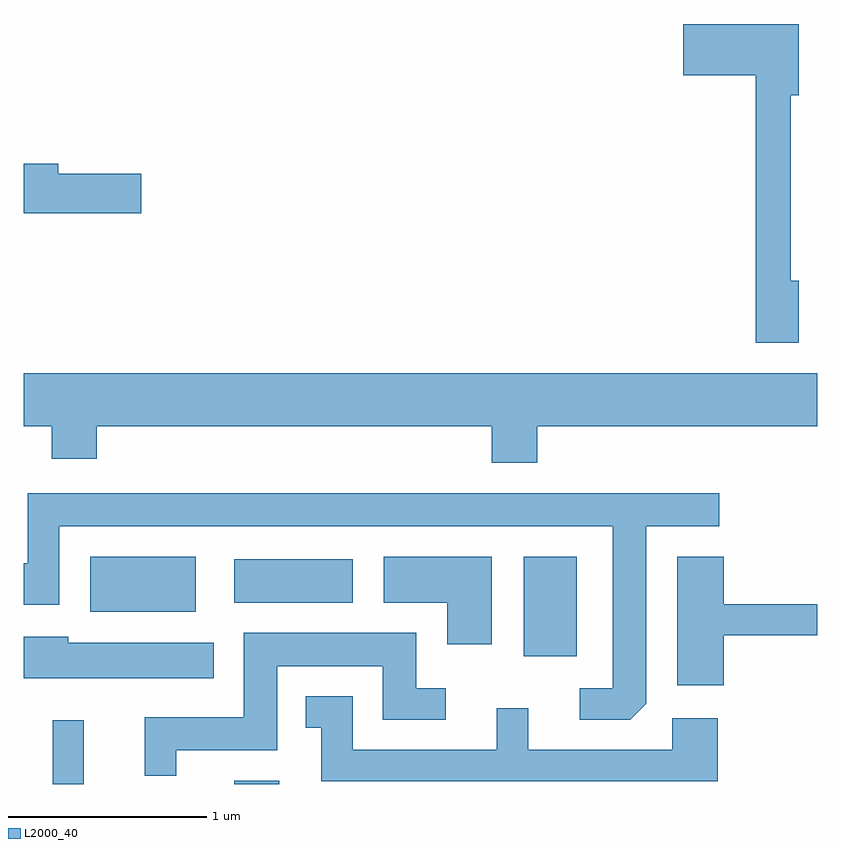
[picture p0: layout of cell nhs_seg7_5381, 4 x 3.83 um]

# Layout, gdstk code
import gdstk
lib = gdstk.Library(unit=1e-6, precision=1e-09)
def R(c, l, rs):  # rectangles x0, y0, x1, y1
    for r in rs: c.add(gdstk.rectangle(r[:2], r[2:], *l))
def P(c, l, *ps):  # polygons
    for p in ps: c.add(gdstk.Polygon(p, *l))
L2000_40 = (2000, 40)

nhs_seg7_5381 = lib.new_cell('nhs_seg7_5381')
R(nhs_seg7_5381, L2000_40, [(349.756,1750.252,349.914,1750.573), (350.671,1750.252,350.899,1750.269), (352.131,1750.896,352.399,1751.399), (349.946,1751.121,350.479,1751.399), (350.671,1751.166,351.269,1751.384)])
P(nhs_seg7_5381, L2000_40, [(353.519,1752.789),(353.479,1752.789),(353.479,1753.726),(353.519,1753.726),(353.519,1754.084),(352.936,1754.084),(352.936,1753.826),(353.301,1753.826),(353.301,1752.476),(353.519,1752.476)],
  [(350.204,1753.329),(349.784,1753.329),(349.784,1753.379),(349.611,1753.379),(349.611,1753.131),(350.204,1753.131)],
  [(349.611,1752.056),(349.751,1752.056),(349.751,1751.891),(349.979,1751.891),(349.979,1752.056),(351.971,1752.056),(351.971,1751.871),(352.199,1751.871),(352.199,1752.056),(353.611,1752.056),(353.611,1752.324),(349.611,1752.324)],
  [(352.749,1750.657),(352.749,1751.551),(353.118,1751.551),(353.118,1751.719),(349.631,1751.719),(349.631,1751.364),(349.611,1751.364),(349.611,1751.156),(349.789,1751.156),(349.789,1751.551),(352.581,1751.551),(352.581,1750.734),(352.413,1750.734),(352.413,1750.576),(352.669,1750.576)],
  [(351.969,1751.399),(351.426,1751.399),(351.426,1751.166),(351.746,1751.166),(351.746,1750.956),(351.969,1750.956)],
  [(353.139,1751.001),(353.611,1751.001),(353.611,1751.159),(353.139,1751.159),(353.139,1751.399),(352.906,1751.399),(352.906,1750.751),(353.139,1750.751)],
  [(350.379,1750.421),(350.889,1750.421),(350.889,1750.846),(351.421,1750.846),(351.421,1750.576),(351.738,1750.576),(351.738,1750.734),(351.589,1750.734),(351.589,1751.014),(350.721,1751.014),(350.721,1750.589),(350.221,1750.589),(350.221,1750.293),(350.379,1750.293)],
  [(350.569,1750.964),(349.834,1750.964),(349.834,1750.994),(349.611,1750.994),(349.611,1750.786),(350.569,1750.786)],
  [(353.109,1750.584),(352.881,1750.584),(352.881,1750.424),(352.154,1750.424),(352.154,1750.633),(351.996,1750.633),(351.996,1750.424),(351.269,1750.424),(351.269,1750.694),(351.033,1750.694),(351.033,1750.536),(351.111,1750.536),(351.111,1750.266),(353.109,1750.266)])

lib.write_gds('nhs_seg7_5381.gds')
